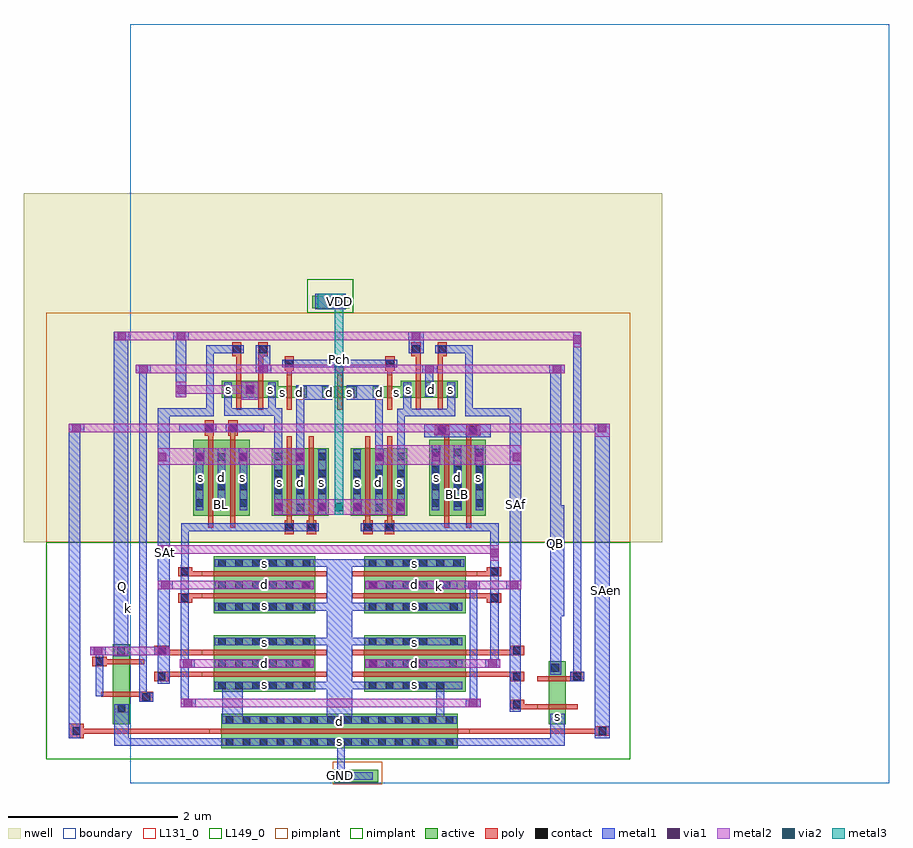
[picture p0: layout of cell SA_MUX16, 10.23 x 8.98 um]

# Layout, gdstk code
from math import pi, radians
import gdstk
lib = gdstk.Library(unit=1e-6, precision=1e-09)
def R(c, l, rs):  # rectangles x0, y0, x1, y1
    for r in rs: c.add(gdstk.rectangle(r[:2], r[2:], *l))
def A(c, l, x, y, w, h, nx, ny, dx, dy):  # array of equal rectangles
    R(c, l, [(x+i*dx, y+j*dy, x+i*dx+w, y+j*dy+h) for i in range(nx) for j in range(ny)])
nwell = (3, 0)
active = (6, 0)
poly = (17, 0)
pimplant = (25, 0)
nimplant = (26, 0)
contact = (30, 0)
metal1 = (31, 0)
metal2 = (32, 0)
metal3 = (33, 0)
via1 = (51, 0)
via2 = (52, 0)
boundary = (108, 0)
L131_0 = (131, 0)
L149_0 = (149, 0)

pc_ct = lib.new_cell('pc_ct')
R(pc_ct, contact, [(0,0,0.09,0.09)])

m3x_m2x_cdns_77575081430 = lib.new_cell('M3X_M2X_CDNS_775750814300')
R(m3x_m2x_cdns_77575081430, metal2, [(-0.05,-0.09,0.05,0.09)])
R(m3x_m2x_cdns_77575081430, metal3, [(-0.05,-0.09,0.05,0.09)])
R(m3x_m2x_cdns_77575081430, via2, [(-0.05,-0.05,0.05,0.05)])

m1__po_cdns_775750814301 = lib.new_cell('M1__PO_CDNS_775750814301')
R(m1__po_cdns_775750814301, poly, [(-0.055,-0.085,0.055,0.085)])
R(m1__po_cdns_775750814301, contact, [(-0.045,-0.045,0.045,0.045)])
R(m1__po_cdns_775750814301, metal1, [(-0.085,-0.045,0.085,0.045)])

m2x_m1_cdns_775750814302 = lib.new_cell('M2X_M1_CDNS_775750814302')
R(m2x_m1_cdns_775750814302, metal1, [(-0.05,-0.09,0.05,0.09)])
R(m2x_m1_cdns_775750814302, metal2, [(-0.05,-0.09,0.05,0.09)])
R(m2x_m1_cdns_775750814302, via1, [(-0.05,-0.05,0.05,0.05)])

sa_mux16 = lib.new_cell('SA_MUX16')
R(sa_mux16, nwell, [(-1.26,2.85,6.29,6.975)])
R(sa_mux16, active, [(2.415,0.01,2.93,0.16), (1.075,0.41,3.875,0.585), (1.075,0.41,3.875,0.82), (1.075,0.645,3.875,0.82), (-0.205,0.695,-0.005,1.645), (4.95,0.695,5.15,1.44), (0.985,1.08,2.185,1.255), (0.985,1.08,2.185,1.75), (2.765,1.08,3.965,1.255), (2.765,1.08,3.965,1.75), (0.985,1.315,2.185,1.515), (2.765,1.315,3.965,1.515), (0.985,1.575,2.185,1.75), (2.765,1.575,3.965,1.75), (0.985,2.01,2.185,2.185), (0.985,2.01,2.185,2.68), (2.765,2.01,3.965,2.185), (2.765,2.01,3.965,2.68), (0.985,2.245,2.185,2.445), (2.765,2.245,3.965,2.445), (0.985,2.505,2.185,2.68), (2.765,2.505,3.965,2.68), (0.745,3.16,0.92,4.06), (0.745,3.16,1.415,4.06), (0.98,3.16,1.18,4.06), (1.24,3.16,1.415,4.06), (1.675,3.16,1.85,3.96), (1.675,3.16,2.345,3.96), (1.91,3.16,2.11,3.96), (2.17,3.16,2.345,3.96), (2.605,3.16,2.78,3.96), (2.605,3.16,3.275,3.96), (2.84,3.16,3.04,3.96), (3.1,3.16,3.275,3.96), (3.535,3.16,3.71,4.06), (3.535,3.16,4.205,4.06), (3.77,3.16,3.97,4.06), (4.03,3.16,4.205,4.06), (1.08,4.555,1.255,4.755), (1.08,4.555,1.46,4.755), (1.315,4.555,1.46,4.755), (1.46,4.555,1.515,4.755), (1.46,4.555,1.75,4.755), (1.575,4.555,1.75,4.755), (1.75,4.555,1.85,4.69), (1.75,4.555,2.085,4.69), (1.91,4.555,2.085,4.69), (2.27,4.555,2.445,4.69), (2.27,4.555,2.68,4.69), (2.505,4.555,2.68,4.69), (2.865,4.555,3.04,4.69), (2.865,4.555,3.375,4.69), (3.1,4.555,3.2,4.69), (3.2,4.555,3.375,4.755), (3.2,4.555,3.49,4.755), (3.435,4.555,3.49,4.755), (3.49,4.555,3.635,4.755), (3.49,4.555,3.87,4.755), (3.695,4.555,3.87,4.755), (2.15,5.615,2.59,5.765)])
A(sa_mux16, poly, 1.85, 4.415, 0.06, 0.415, 3, 1, 0.595, 0)
R(sa_mux16, poly, [(-0.725,0.53,-0.55,0.7), (5.49,0.56,5.67,0.67), (-0.68,0.585,5.67,0.645), (4.49,0.875,4.66,0.985), (4.49,0.875,4.66,0.985), (4.515,0.875,5.29,0.935), (4.81,0.875,5.29,0.935), (0.105,0.96,0.275,1.07), (-0.345,1.02,0.275,1.08), (0.285,1.205,0.455,1.315), (0.285,1.205,0.455,1.315), (4.49,1.205,4.66,1.315), (4.49,1.205,4.66,1.315), (4.81,1.205,5.335,1.265), (5.2,1.205,5.37,1.315), (5.2,1.205,5.37,1.315), (0.285,1.255,2.32,1.315), (0.845,1.255,2.325,1.315), (2.625,1.255,4.105,1.315), (2.625,1.255,4.66,1.315), (-0.45,1.385,-0.28,1.495), (-0.345,1.405,0.135,1.465), (-0.305,1.405,0.165,1.465), (0.285,1.515,0.455,1.625), (0.285,1.515,0.455,1.625), (0.285,1.515,2.32,1.575), (0.845,1.515,2.325,1.575), (2.625,1.515,4.105,1.575), (2.625,1.515,4.66,1.575), (4.49,1.515,4.66,1.625), (4.49,1.515,4.66,1.625), (0.565,2.135,0.735,2.245), (4.215,2.135,4.385,2.245), (0.565,2.185,2.325,2.245), (2.625,2.185,4.345,2.245), (0.565,2.445,0.735,2.555), (0.595,2.445,2.325,2.505), (2.625,2.445,4.355,2.505), (4.215,2.445,4.385,2.555), (1.825,2.94,1.935,3.11), (3.01,2.94,3.12,3.11), (0.92,3.02,0.98,4.235), (1.18,3.02,1.24,4.2), (1.85,3.02,1.91,4.1), (2.11,3.02,2.17,4.1), (2.78,3.02,2.84,4.1), (3.04,3.02,3.1,4.1), (3.71,3.02,3.77,4.225), (3.97,3.02,4.03,4.22), (0.88,4.11,0.99,4.29), (1.16,4.11,1.27,4.29), (3.97,4.11,4.14,4.23), (3.6,4.115,3.77,4.23), (1.255,4.415,1.315,4.895), (1.255,4.415,1.315,5.215), (1.515,4.415,1.575,4.895), (1.515,4.415,1.575,5.215), (1.85,4.415,1.91,5.005), (3.04,4.415,3.1,5.005), (3.375,4.415,3.435,4.895), (3.375,4.415,3.435,5.215), (3.635,4.415,3.695,4.895), (3.635,4.415,3.695,5.215), (2.445,4.42,2.505,5.01), (1.825,4.875,1.935,5.045), (2.42,4.875,2.53,5.045), (2.42,4.875,2.53,5.045), (3.015,4.875,3.125,5.045), (1.205,5.045,1.315,5.215), (1.515,5.045,1.625,5.215), (3.325,5.045,3.435,5.215), (3.635,5.045,3.745,5.215)])
R(sa_mux16, pimplant, [(2.395,-0.01,2.98,0.255), (-0.995,2.85,5.91,5.56), (3.07,4.265,3.62,5.045)])
R(sa_mux16, nimplant, [(-0.995,0.28,5.91,2.85), (2.095,5.56,2.635,5.96)])
A(sa_mux16, contact, 1.835, 4.915, 0.09, 0.09, 3, 1, 0.595, 0)
R(sa_mux16, contact, [(2.445,0.04,2.535,0.13), (-0.68,0.57,-0.59,0.66), (5.54,0.57,5.63,0.66), (4.53,0.885,4.62,0.975), (4.53,0.885,4.62,0.975), (0.145,0.97,0.235,1.06), (0.325,1.215,0.415,1.305), (0.325,1.215,0.415,1.305), (4.53,1.215,4.62,1.305), (4.53,1.215,4.62,1.305), (5.24,1.215,5.33,1.305), (5.24,1.215,5.33,1.305), (-0.41,1.395,-0.32,1.485), (0.325,1.525,0.415,1.615), (0.325,1.525,0.415,1.615), (4.53,1.525,4.62,1.615), (4.53,1.525,4.62,1.615), (0.605,2.145,0.695,2.235), (4.255,2.145,4.345,2.235), (0.605,2.455,0.695,2.545), (4.255,2.455,4.345,2.545), (1.835,2.98,1.925,3.07), (3.02,2.98,3.11,3.07), (3.64,4.13,3.73,4.22), (4.01,4.13,4.1,4.22), (0.89,4.16,0.98,4.25), (1.17,4.16,1.26,4.25), (1.215,5.085,1.305,5.175), (1.525,5.085,1.615,5.175), (3.335,5.085,3.425,5.175), (3.645,5.085,3.735,5.175), (2.425,5.645,2.515,5.735)])
A(sa_mux16, metal1, 1, 1.11, 1.17, 0.09, 1, 3, 0, 0.26)
A(sa_mux16, metal1, 2.78, 1.11, 1.145, 0.09, 1, 3, 0, 0.26)
A(sa_mux16, metal1, 1, 2.04, 1.17, 0.09, 1, 3, 0, 0.26)
A(sa_mux16, metal1, 1.705, 3.175, 0.09, 0.77, 3, 1, 0.26, 0)
A(sa_mux16, metal1, 2.635, 3.175, 0.09, 0.77, 3, 1, 0.26, 0)
A(sa_mux16, metal1, 0.775, 3.225, 0.09, 0.735, 3, 1, 0.26, 0)
A(sa_mux16, metal1, 3.565, 3.225, 0.09, 0.77, 3, 1, 0.26, 0)
A(sa_mux16, metal1, 1.11, 4.57, 0.09, 0.17, 3, 1, 0.26, 0)
A(sa_mux16, metal1, 3.23, 4.57, 0.09, 0.17, 3, 1, 0.26, 0)
A(sa_mux16, metal1, 1.795, 4.915, 0.17, 0.09, 3, 1, 0.595, 0)
R(sa_mux16, metal1, [(2.405,0.04,2.865,0.13), (2.445,0.04,2.535,0.53), (2.445,0.04,2.535,0.13), (-0.19,0.44,-0.015,0.93), (-0.19,0.44,5.135,0.53), (1.09,0.44,3.86,0.53), (4.965,0.44,5.135,0.82), (-0.725,0.53,-0.59,4.25), (-0.68,0.53,-0.59,0.7), (5.49,0.53,5.67,4.25), (5.54,0.53,5.63,0.7), (1.09,0.7,3.86,0.79), (1.09,0.7,1.33,1.2), (2.325,0.7,2.625,2.65), (3.62,0.7,3.71,1.2), (-0.19,0.84,-0.015,0.93), (4.485,0.845,4.62,2.395), (4.53,0.845,4.62,1.005), (4.53,0.845,4.62,1.005), (0.595,0.9,0.775,1), (0.595,0.9,0.695,2.585), (3.965,0.9,4.145,1), (4.015,0.9,4.105,2.395), (0.105,0.96,0.275,1.07), (0.105,0.96,0.195,4.925), (-0.41,1.025,-0.32,1.195), (-0.41,1.025,-0.32,1.615), (1,1.11,3.925,1.2), (0.325,1.175,0.415,1.345), (0.325,1.175,0.465,1.345), (4.53,1.175,4.62,1.345), (4.53,1.175,4.62,1.345), (0.325,1.205,0.465,4.435), (5.2,1.205,5.335,1.315), (5.235,1.205,5.37,1.32), (5.235,1.265,5.335,5.335), (4.965,1.28,5.095,1.43), (4.965,1.28,5.095,4.945), (0.585,1.365,0.765,1.465), (1.5,1.365,1.68,1.465), (1.99,1.365,2.17,1.465), (2.78,1.365,2.96,1.465), (3.27,1.365,3.45,1.465), (4.195,1.365,4.375,1.465), (4.255,1.365,4.355,3.07), (0.325,1.485,0.415,1.655), (0.325,1.485,0.415,1.655), (4.53,1.485,4.62,1.655), (4.53,1.485,4.62,1.655), (-0.195,1.5,-0.025,5.335), (-0.47,1.515,-0.29,1.615), (0.285,1.515,0.465,1.615), (2.04,1.63,2.325,1.72), (2.625,1.63,2.91,1.72), (4.965,1.975,5.13,3.285), (2.04,2.04,2.325,2.13), (2.625,2.04,2.91,2.13), (2.78,2.04,3.925,2.13), (-0.19,2.06,-0.025,3.435), (0.605,2.105,0.695,2.275), (4.255,2.105,4.345,2.275), (5.49,2.225,5.67,2.48), (0.325,2.295,0.505,2.395), (1.5,2.295,1.68,2.395), (1.99,2.295,2.17,2.395), (2.78,2.295,2.96,2.395), (3.27,2.295,3.45,2.395), (3.955,2.295,4.135,2.395), (4.445,2.295,4.625,2.395), (2.78,2.3,3.865,2.39), (4.485,2.355,4.625,4.435), (0.605,2.415,0.695,2.585), (4.255,2.415,4.345,2.585), (0.605,2.455,0.695,3.07), (1,2.56,3.95,2.65), (2.78,2.56,3.95,2.65), (0.325,2.575,0.465,3.505), (0.325,2.71,0.505,2.81), (4.49,2.93,4.625,3.675), (0.605,2.98,2.23,3.07), (1.795,2.98,1.965,3.07), (2.725,2.98,4.355,3.07), (2.98,2.98,3.15,3.07), (1.705,3.175,1.805,3.355), (2.215,3.175,2.315,3.355), (2.635,3.175,2.735,3.355), (3.145,3.175,3.245,3.355), (1.035,3.225,1.125,3.755), (3.825,3.225,3.92,3.755), (0.325,3.765,0.425,3.945), (0.775,3.765,0.875,3.96), (1.285,3.765,1.385,3.96), (1.955,3.765,2.055,3.945), (1.965,3.765,2.055,4.625), (2.895,3.765,2.995,3.945), (2.895,3.765,2.985,4.625), (3.565,3.765,3.665,3.995), (4.075,3.765,4.175,3.995), (4.525,3.765,4.625,3.945), (1.705,3.815,1.795,4.435), (3.155,3.815,3.245,4.425), (3.475,4.09,3.895,4.245), (3.845,4.09,4.265,4.245), (3.475,4.095,3.895,4.195), (3.845,4.095,4.265,4.195), (5.49,4.095,5.67,4.25), (-0.725,4.15,-0.545,4.25), (0.58,4.15,1.02,4.25), (1.13,4.16,1.585,4.25), (3.155,4.335,3.84,4.425), (3.75,4.335,3.84,4.74), (0.325,4.34,0.99,4.435), (0.9,4.34,0.99,5.175), (3.23,4.34,3.32,4.74), (3.96,4.34,4.625,4.435), (3.96,4.34,4.05,5.175), (1.11,4.345,1.2,4.74), (1.11,4.345,1.795,4.435), (1.63,4.345,1.72,4.74), (1.315,4.53,1.515,4.745), (1.965,4.535,2.055,4.705), (1.965,4.535,2.39,4.705), (2.3,4.535,2.39,4.705), (2.56,4.535,2.65,4.705), (2.56,4.535,2.985,4.705), (2.895,4.535,2.985,4.705), (0.54,4.565,0.665,4.745), (0.54,4.565,0.665,5.335), (3.49,4.57,3.58,4.945), (0.065,4.845,0.245,4.945), (1.485,4.845,1.665,4.945), (1.485,4.845,1.655,5.175), (3.45,4.845,3.63,4.945), (4.955,4.845,5.135,4.945), (1.795,4.915,3.155,5.005), (0.9,5.085,1.345,5.175), (1.175,5.085,1.345,5.175), (1.485,5.085,1.655,5.175), (3.295,5.085,3.465,5.175), (3.295,5.085,3.47,5.335), (3.605,5.085,3.775,5.175), (3.605,5.085,4.05,5.175), (5.235,5.155,5.335,5.335), (-0.19,5.235,-0.01,5.335), (0.51,5.235,0.69,5.335), (3.29,5.235,3.47,5.335), (2.19,5.605,2.55,5.785), (2.22,5.605,2.55,5.785)])
R(sa_mux16, metal2, [(0.595,0.9,0.775,1), (0.595,0.9,4.095,1), (3.965,0.9,4.145,1), (0.585,1.365,0.765,1.465), (0.585,1.365,2.17,1.465), (1.5,1.365,1.68,1.465), (1.99,1.365,2.17,1.465), (2.78,1.365,2.96,1.465), (2.78,1.365,4.375,1.465), (3.27,1.365,3.45,1.465), (4.195,1.365,4.375,1.465), (-0.47,1.515,-0.29,1.615), (-0.47,1.515,0.465,1.615), (0.285,1.515,0.465,1.615), (0.325,2.295,0.505,2.395), (0.405,2.295,2.17,2.395), (1.5,2.295,1.68,2.395), (1.99,2.295,2.17,2.395), (2.78,2.295,2.96,2.395), (2.78,2.295,4.545,2.395), (3.27,2.295,3.45,2.395), (3.955,2.295,4.135,2.395), (4.445,2.295,4.625,2.395), (0.325,2.71,0.505,2.81), (0.325,2.71,4.355,2.81), (1.705,3.175,1.805,3.355), (1.705,3.175,3.245,3.355), (2.215,3.175,2.315,3.355), (2.635,3.175,2.735,3.355), (3.145,3.175,3.245,3.355), (0.325,3.765,0.425,3.945), (0.325,3.765,2.055,3.96), (0.775,3.765,0.875,3.96), (1.285,3.765,1.385,3.96), (1.955,3.765,2.055,3.945), (2.895,3.765,2.995,3.945), (2.895,3.765,4.625,3.995), (3.565,3.765,3.665,3.995), (4.075,3.765,4.175,3.995), (4.525,3.765,4.625,3.945), (5.49,4.095,5.67,4.25), (3.965,4.115,4.145,4.215), (3.595,4.12,3.775,4.22), (-0.725,4.15,-0.545,4.25), (-0.695,4.15,5.67,4.25), (1.315,4.53,1.515,4.745), (0.54,4.565,0.665,4.745), (0.54,4.605,1.515,4.705), (0.065,4.845,0.245,4.945), (0.065,4.845,5.135,4.945), (1.485,4.845,1.665,4.945), (3.45,4.845,3.63,4.945), (4.955,4.845,5.135,4.945), (5.235,5.155,5.335,5.335), (-0.19,5.235,-0.01,5.335), (-0.19,5.235,5.335,5.335), (0.51,5.235,0.69,5.335), (3.29,5.235,3.47,5.335), (2.22,5.605,2.55,5.785), (2.37,5.605,2.55,5.785)])
R(sa_mux16, metal3, [(2.42,3.175,2.52,5.785), (2.22,5.605,2.55,5.785), (2.42,5.605,2.52,5.785)])
R(sa_mux16, via1, [(0.635,0.9,0.735,1), (4.005,0.9,4.105,1), (0.625,1.365,0.725,1.465), (1.54,1.365,1.64,1.465), (2.03,1.365,2.13,1.465), (2.82,1.365,2.92,1.465), (3.31,1.365,3.41,1.465), (4.235,1.365,4.335,1.465), (-0.43,1.515,-0.33,1.615), (0.325,1.515,0.425,1.615), (0.365,2.295,0.465,2.395), (1.54,2.295,1.64,2.395), (2.03,2.295,2.13,2.395), (2.82,2.295,2.92,2.395), (3.31,2.295,3.41,2.395), (3.995,2.295,4.095,2.395), (4.485,2.295,4.585,2.395), (0.365,2.71,0.465,2.81), (1.705,3.215,1.805,3.315), (2.215,3.215,2.315,3.315), (2.635,3.215,2.735,3.315), (3.145,3.215,3.245,3.315), (0.325,3.805,0.425,3.905), (0.775,3.805,0.875,3.905), (1.285,3.805,1.385,3.905), (1.955,3.805,2.055,3.905), (2.895,3.805,2.995,3.905), (3.565,3.805,3.665,3.905), (4.075,3.805,4.175,3.905), (4.525,3.805,4.625,3.905), (4.005,4.115,4.105,4.215), (3.635,4.12,3.735,4.22), (-0.685,4.15,-0.585,4.25), (5.53,4.15,5.63,4.25), (0.555,4.605,0.655,4.705), (1.365,4.605,1.465,4.705), (0.105,4.845,0.205,4.945), (1.525,4.845,1.625,4.945), (3.49,4.845,3.59,4.945), (4.995,4.845,5.095,4.945), (5.235,5.195,5.335,5.295), (-0.15,5.235,-0.05,5.335), (0.55,5.235,0.65,5.335), (3.33,5.235,3.43,5.335), (2.42,5.645,2.52,5.745)])
R(sa_mux16, via2, [(2.42,5.645,2.52,5.745)])
R(sa_mux16, boundary, [(0,0,8.975,8.975)])
A(sa_mux16, L131_0, 1, 1.11, 1.17, 0.09, 1, 3, 0, 0.26)
A(sa_mux16, L131_0, 2.78, 1.11, 1.145, 0.09, 1, 3, 0, 0.26)
A(sa_mux16, L131_0, 1, 2.04, 1.17, 0.09, 1, 3, 0, 0.26)
A(sa_mux16, L131_0, 1.705, 3.175, 0.09, 0.77, 3, 1, 0.26, 0)
A(sa_mux16, L131_0, 2.635, 3.175, 0.09, 0.77, 3, 1, 0.26, 0)
A(sa_mux16, L131_0, 3.565, 3.225, 0.09, 0.77, 3, 1, 0.26, 0)
A(sa_mux16, L131_0, 1.11, 4.57, 0.09, 0.17, 3, 1, 0.26, 0)
A(sa_mux16, L131_0, 3.23, 4.57, 0.09, 0.17, 3, 1, 0.26, 0)
R(sa_mux16, L131_0, [(1.09,0.44,3.86,0.53), (1.09,0.7,3.86,0.79), (-0.19,0.84,-0.015,0.93), (2.78,2.04,3.925,2.13), (2.78,2.3,3.865,2.39), (2.78,2.56,3.95,2.65), (1.965,4.535,2.055,4.705), (2.3,4.535,2.39,4.705), (2.56,4.535,2.65,4.705), (2.895,4.535,2.985,4.705)])
A(sa_mux16, L149_0, 1.85, 4.415, 0.06, 0.14, 3, 2, 0.595, 0.275)
R(sa_mux16, L149_0, [(0.935,0.585,1.075,0.645), (3.875,0.585,4.015,0.645), (4.81,0.875,4.95,0.935), (5.15,0.875,5.29,0.935), (4.81,1.205,4.95,1.265), (5.15,1.205,5.33,1.265), (0.845,1.255,0.985,1.315), (2.185,1.255,2.325,1.315), (2.625,1.255,2.765,1.315), (3.965,1.255,4.105,1.315), (0.845,1.515,0.985,1.575), (2.185,1.515,2.325,1.575), (2.625,1.515,2.765,1.575), (3.965,1.515,4.105,1.575), (0.845,2.185,0.985,2.245), (2.185,2.185,2.325,2.245), (2.625,2.185,2.765,2.245), (3.965,2.185,4.105,2.245), (0.845,2.445,0.985,2.505), (2.185,2.445,2.325,2.505), (2.625,2.445,2.765,2.505), (3.965,2.445,4.105,2.505), (0.92,3.02,0.98,3.16), (1.18,3.02,1.24,3.16), (1.85,3.02,1.91,3.16), (2.11,3.02,2.17,3.16), (2.78,3.02,2.84,3.16), (3.04,3.02,3.1,3.16), (3.71,3.02,3.77,3.16), (3.97,3.02,4.03,3.16), (1.85,3.96,1.91,4.1), (2.11,3.96,2.17,4.1), (2.78,3.96,2.84,4.1), (3.04,3.96,3.1,4.1), (1.18,4.06,1.24,4.2), (3.71,4.06,3.77,4.225), (3.97,4.06,4.03,4.22), (1.255,4.415,1.315,4.555), (1.515,4.415,1.575,4.555), (3.375,4.415,3.435,4.555), (3.635,4.415,3.695,4.555), (1.255,4.755,1.315,4.895), (1.515,4.755,1.575,4.895), (3.375,4.755,3.435,4.895), (3.635,4.755,3.695,4.895)])
sa_mux16.add(gdstk.Reference(pc_ct, (3.695,2.3), rotation=pi/2, x_reflection=True))
sa_mux16.add(gdstk.Reference(pc_ct, (3.42,2.3), rotation=pi/2, x_reflection=True))
sa_mux16.add(gdstk.Reference(pc_ct, (3.22,2.3), rotation=pi/2, x_reflection=True))
sa_mux16.add(gdstk.Reference(pc_ct, (3.02,2.3), rotation=pi/2, x_reflection=True))
sa_mux16.add(gdstk.Reference(pc_ct, (2.82,2.3), rotation=pi/2, x_reflection=True))
sa_mux16.add(gdstk.Reference(pc_ct, (3.78,2.04), rotation=pi/2, x_reflection=True))
sa_mux16.add(gdstk.Reference(pc_ct, (3.42,2.04), rotation=pi/2, x_reflection=True))
sa_mux16.add(gdstk.Reference(pc_ct, (3.22,2.04), rotation=pi/2, x_reflection=True))
sa_mux16.add(gdstk.Reference(pc_ct, (3.02,2.04), rotation=pi/2, x_reflection=True))
sa_mux16.add(gdstk.Reference(pc_ct, (2.82,2.04), rotation=pi/2, x_reflection=True))
sa_mux16.add(gdstk.Reference(pc_ct, (2.91,1.72), rotation=3*pi/2, x_reflection=True))
sa_mux16.add(gdstk.Reference(pc_ct, (3.11,1.72), rotation=3*pi/2, x_reflection=True))
sa_mux16.add(gdstk.Reference(pc_ct, (3.31,1.72), rotation=3*pi/2, x_reflection=True))
sa_mux16.add(gdstk.Reference(pc_ct, (3.51,1.72), rotation=3*pi/2, x_reflection=True))
sa_mux16.add(gdstk.Reference(pc_ct, (3.875,1.72), rotation=3*pi/2, x_reflection=True))
sa_mux16.add(gdstk.Reference(pc_ct, (1.295,3.81)))
sa_mux16.add(gdstk.Reference(pc_ct, (1.295,3.465)))
sa_mux16.add(gdstk.Reference(pc_ct, (1.295,3.265)))
sa_mux16.add(gdstk.Reference(pc_ct, (1.035,3.81)))
sa_mux16.add(gdstk.Reference(pc_ct, (1.035,3.465)))
sa_mux16.add(gdstk.Reference(pc_ct, (1.035,3.265)))
sa_mux16.add(gdstk.Reference(pc_ct, (0.775,3.815)))
sa_mux16.add(gdstk.Reference(pc_ct, (0.775,3.465)))
sa_mux16.add(gdstk.Reference(pc_ct, (0.775,3.265)))
sa_mux16.add(gdstk.Reference(pc_ct, (2.91,1.46), rotation=3*pi/2, x_reflection=True))
sa_mux16.add(gdstk.Reference(pc_ct, (3.11,1.46), rotation=3*pi/2, x_reflection=True))
sa_mux16.add(gdstk.Reference(pc_ct, (3.31,1.46), rotation=3*pi/2, x_reflection=True))
sa_mux16.add(gdstk.Reference(pc_ct, (3.51,1.46), rotation=3*pi/2, x_reflection=True))
sa_mux16.add(gdstk.Reference(pc_ct, (3.86,1.46), rotation=3*pi/2, x_reflection=True))
sa_mux16.add(gdstk.Reference(pc_ct, (2.91,1.2), rotation=3*pi/2, x_reflection=True))
sa_mux16.add(gdstk.Reference(pc_ct, (3.11,1.2), rotation=3*pi/2, x_reflection=True))
sa_mux16.add(gdstk.Reference(pc_ct, (3.31,1.2), rotation=3*pi/2, x_reflection=True))
sa_mux16.add(gdstk.Reference(pc_ct, (3.51,1.2), rotation=3*pi/2, x_reflection=True))
sa_mux16.add(gdstk.Reference(pc_ct, (3.71,1.2), rotation=3*pi/2, x_reflection=True))
r = gdstk.Reference(pc_ct, (3.825,3.265)); r.repetition = gdstk.Repetition(1, 4, v1=(0.2,0), v2=(0,0.2)); sa_mux16.add(r)
r = gdstk.Reference(pc_ct, (4.085,3.265)); r.repetition = gdstk.Repetition(1, 4, v1=(0.2,0), v2=(0,0.2)); sa_mux16.add(r)
r = gdstk.Reference(pc_ct, (3.565,3.265)); r.repetition = gdstk.Repetition(1, 4, v1=(0.2,0), v2=(0,0.2)); sa_mux16.add(r)
r = gdstk.Reference(pc_ct, (2.82,2.56), rotation=pi/2, x_reflection=True); r.repetition = gdstk.Repetition(1, 6, v1=(0,0.2), v2=(0.2,0)); sa_mux16.add(r)
r = gdstk.Reference(pc_ct, (1.13,0.7), rotation=pi/2, x_reflection=True); r.repetition = gdstk.Repetition(1, 14, v1=(0,0.2), v2=(0.2,0)); sa_mux16.add(r)
r = gdstk.Reference(pc_ct, (1.13,0.44), rotation=pi/2, x_reflection=True); r.repetition = gdstk.Repetition(1, 14, v1=(0,0.2), v2=(0.2,0)); sa_mux16.add(r)
r = gdstk.Reference(pc_ct, (3.58,4.61), rotation=pi, x_reflection=True); r.repetition = gdstk.Repetition(1, 1, v1=(-0.2,0), v2=(0,0.2)); sa_mux16.add(r)
r = gdstk.Reference(pc_ct, (3.84,4.61), rotation=pi, x_reflection=True); r.repetition = gdstk.Repetition(1, 1, v1=(-0.2,0), v2=(0,0.2)); sa_mux16.add(r)
r = gdstk.Reference(pc_ct, (3.23,4.61)); r.repetition = gdstk.Repetition(1, 1, v1=(0.2,0), v2=(0,0.2)); sa_mux16.add(r)
r = gdstk.Reference(pc_ct, (2.895,3.215)); r.repetition = gdstk.Repetition(1, 4, v1=(0.2,0), v2=(0,0.2)); sa_mux16.add(r)
r = gdstk.Reference(pc_ct, (3.155,3.215)); r.repetition = gdstk.Repetition(1, 4, v1=(0.2,0), v2=(0,0.2)); sa_mux16.add(r)
r = gdstk.Reference(pc_ct, (2.635,3.215)); r.repetition = gdstk.Repetition(1, 4, v1=(0.2,0), v2=(0,0.2)); sa_mux16.add(r)
r = gdstk.Reference(pc_ct, (2.985,4.575), rotation=pi, x_reflection=True); r.repetition = gdstk.Repetition(1, 1, v1=(-0.2,0), v2=(0,0.2)); sa_mux16.add(r)
r = gdstk.Reference(pc_ct, (2.39,4.575), rotation=pi, x_reflection=True); r.repetition = gdstk.Repetition(1, 1, v1=(-0.2,0), v2=(0,0.2)); sa_mux16.add(r)
r = gdstk.Reference(pc_ct, (2.65,4.575), rotation=pi, x_reflection=True); r.repetition = gdstk.Repetition(1, 1, v1=(-0.2,0), v2=(0,0.2)); sa_mux16.add(r)
r = gdstk.Reference(pc_ct, (1.965,3.215)); r.repetition = gdstk.Repetition(1, 4, v1=(0.2,0), v2=(0,0.2)); sa_mux16.add(r)
r = gdstk.Reference(pc_ct, (2.225,3.215)); r.repetition = gdstk.Repetition(1, 4, v1=(0.2,0), v2=(0,0.2)); sa_mux16.add(r)
r = gdstk.Reference(pc_ct, (1.705,3.215)); r.repetition = gdstk.Repetition(1, 4, v1=(0.2,0), v2=(0,0.2)); sa_mux16.add(r)
r = gdstk.Reference(pc_ct, (2.13,2.39), rotation=3*pi/2, x_reflection=True); r.repetition = gdstk.Repetition(1, 6, v1=(0,-0.2), v2=(-0.2,0)); sa_mux16.add(r)
r = gdstk.Reference(pc_ct, (2.13,2.13), rotation=3*pi/2, x_reflection=True); r.repetition = gdstk.Repetition(1, 6, v1=(0,-0.2), v2=(-0.2,0)); sa_mux16.add(r)
r = gdstk.Reference(pc_ct, (2.13,2.65), rotation=3*pi/2, x_reflection=True); r.repetition = gdstk.Repetition(1, 6, v1=(0,-0.2), v2=(-0.2,0)); sa_mux16.add(r)
r = gdstk.Reference(pc_ct, (2.13,1.46), rotation=3*pi/2, x_reflection=True); r.repetition = gdstk.Repetition(1, 6, v1=(0,-0.2), v2=(-0.2,0)); sa_mux16.add(r)
r = gdstk.Reference(pc_ct, (2.13,1.2), rotation=3*pi/2, x_reflection=True); r.repetition = gdstk.Repetition(1, 6, v1=(0,-0.2), v2=(-0.2,0)); sa_mux16.add(r)
r = gdstk.Reference(pc_ct, (2.13,1.72), rotation=3*pi/2, x_reflection=True); r.repetition = gdstk.Repetition(1, 6, v1=(0,-0.2), v2=(-0.2,0)); sa_mux16.add(r)
r = gdstk.Reference(pc_ct, (1.72,4.61), rotation=pi, x_reflection=True); r.repetition = gdstk.Repetition(1, 1, v1=(-0.2,0), v2=(0,0.2)); sa_mux16.add(r)
r = gdstk.Reference(pc_ct, (1.37,4.61)); r.repetition = gdstk.Repetition(1, 1, v1=(0.2,0), v2=(0,0.2)); sa_mux16.add(r)
r = gdstk.Reference(pc_ct, (1.11,4.61)); r.repetition = gdstk.Repetition(1, 1, v1=(0.2,0), v2=(0,0.2)); sa_mux16.add(r)
r = gdstk.Reference(pc_ct, (1.965,4.575)); r.repetition = gdstk.Repetition(1, 1, v1=(0.2,0), v2=(0,0.2)); sa_mux16.add(r)
r = gdstk.Reference(pc_ct, (5.005,0.73), rotation=pi/2, x_reflection=True); r.repetition = gdstk.Repetition(1, 1, v1=(0,0.2), v2=(0.2,0)); sa_mux16.add(r)
r = gdstk.Reference(pc_ct, (5.07,1.32), rotation=pi/2); r.repetition = gdstk.Repetition(1, 1, v1=(0,0.2), v2=(-0.2,0)); sa_mux16.add(r)
r = gdstk.Reference(pc_ct, (-0.06,0.84), rotation=pi/2); r.repetition = gdstk.Repetition(1, 1, v1=(0,0.2), v2=(-0.2,0)); sa_mux16.add(r)
r = gdstk.Reference(pc_ct, (-0.065,1.52), rotation=pi/2); r.repetition = gdstk.Repetition(1, 1, v1=(0,0.2), v2=(-0.2,0)); sa_mux16.add(r)
sa_mux16.add(gdstk.Reference(m3x_m2x_cdns_77575081430, (2.47,3.265)))
sa_mux16.add(gdstk.Reference(m1__po_cdns_775750814301, (2.81,3.025)))
sa_mux16.add(gdstk.Reference(m1__po_cdns_775750814301, (2.145,3.025)))
sa_mux16.add(gdstk.Reference(m2x_m1_cdns_775750814302, (1.22,4.2), rotation=pi/2))
sa_mux16.add(gdstk.Reference(m2x_m1_cdns_775750814302, (0.93,4.2), rotation=pi/2))
sa_mux16.add(gdstk.Reference(m2x_m1_cdns_775750814302, (4.305,2.72)))
sa_mux16.add(gdstk.Label('GND', (2.49,0.09), layer=131, texttype=0))
sa_mux16.add(gdstk.Label('QB', (5.025,2.83), layer=131, texttype=0))
sa_mux16.add(gdstk.Label('Q', (-0.09,2.32), layer=131, texttype=0))
sa_mux16.add(gdstk.Label('SAf', (4.55,3.29), layer=131, texttype=0))
sa_mux16.add(gdstk.Label('SAt', (0.415,2.725), layer=131, texttype=0))
sa_mux16.add(gdstk.Label('BLB', (3.875,3.415), layer=131, texttype=0))
sa_mux16.add(gdstk.Label('BL', (1.08,3.295), layer=131, texttype=0))
sa_mux16.add(gdstk.Label('SAen', (5.63,2.275), layer=131, texttype=0))
sa_mux16.add(gdstk.Label('d', (3.87,3.61), layer=127, texttype=0))
sa_mux16.add(gdstk.Label('s', (4.118,3.61), layer=127, texttype=0))
sa_mux16.add(gdstk.Label('s', (3.622,3.61), layer=127, texttype=0))
sa_mux16.add(gdstk.Label('d', (3.365,2.345), layer=127, texttype=0))
sa_mux16.add(gdstk.Label('s', (3.365,2.593), layer=127, texttype=0))
sa_mux16.add(gdstk.Label('s', (3.365,2.097), layer=127, texttype=0))
sa_mux16.add(gdstk.Label('d', (3.365,1.415), layer=127, texttype=0))
sa_mux16.add(gdstk.Label('s', (3.365,1.167), layer=127, texttype=0))
sa_mux16.add(gdstk.Label('s', (3.365,1.663), layer=127, texttype=0))
sa_mux16.add(gdstk.Label('d', (2.475,0.733), layer=127, texttype=0))
sa_mux16.add(gdstk.Label('s', (2.475,0.497), layer=127, texttype=0))
sa_mux16.add(gdstk.Label('d', (3.562,4.655), layer=127, texttype=0))
sa_mux16.add(gdstk.Label('s', (3.783,4.655), layer=127, texttype=0))
sa_mux16.add(gdstk.Label('d', (3.463,4.655), layer=127, texttype=0))
sa_mux16.add(gdstk.Label('s', (3.287,4.655), layer=127, texttype=0))
sa_mux16.add(gdstk.Label('d', (2.94,3.56), layer=127, texttype=0))
sa_mux16.add(gdstk.Label('s', (3.188,3.56), layer=127, texttype=0))
sa_mux16.add(gdstk.Label('s', (2.692,3.56), layer=127, texttype=0))
sa_mux16.add(gdstk.Label('d', (2.952,4.623), layer=127, texttype=0))
sa_mux16.add(gdstk.Label('s', (3.15,4.623), layer=127, texttype=0))
sa_mux16.add(gdstk.Label('d', (2.357,4.623), layer=127, texttype=0))
sa_mux16.add(gdstk.Label('s', (2.593,4.623), layer=127, texttype=0))
sa_mux16.add(gdstk.Label('d', (2.01,3.56), layer=127, texttype=0))
sa_mux16.add(gdstk.Label('s', (2.258,3.56), layer=127, texttype=0))
sa_mux16.add(gdstk.Label('s', (1.762,3.56), layer=127, texttype=0))
sa_mux16.add(gdstk.Label('d', (1.585,2.345), layer=127, texttype=0))
sa_mux16.add(gdstk.Label('s', (1.585,2.097), layer=127, texttype=0))
sa_mux16.add(gdstk.Label('s', (1.585,2.593), layer=127, texttype=0))
sa_mux16.add(gdstk.Label('d', (1.585,1.415), layer=127, texttype=0))
sa_mux16.add(gdstk.Label('s', (1.585,1.167), layer=127, texttype=0))
sa_mux16.add(gdstk.Label('s', (1.585,1.663), layer=127, texttype=0))
sa_mux16.add(gdstk.Label('d', (1.08,3.61), layer=127, texttype=0))
sa_mux16.add(gdstk.Label('s', (1.328,3.61), layer=127, texttype=0))
sa_mux16.add(gdstk.Label('s', (0.832,3.61), layer=127, texttype=0))
sa_mux16.add(gdstk.Label('s', (1.663,4.655), layer=127, texttype=0))
sa_mux16.add(gdstk.Label('s', (1.167,4.655), layer=127, texttype=0))
sa_mux16.add(gdstk.Label('d', (1.998,4.623), layer=127, texttype=0))
sa_mux16.add(gdstk.Label('s', (1.8,4.623), layer=127, texttype=0))
sa_mux16.add(gdstk.Label('s', (5.05,0.792), layer=127, texttype=0))
sa_mux16.add(gdstk.Label('k', (-0.025,2.06), layer=31, texttype=0))
sa_mux16.add(gdstk.Label('k', (3.662,2.32), layer=31, texttype=0))
sa_mux16.add(gdstk.Label('Pch', (2.475,5.01), layer=149, texttype=0))
sa_mux16.add(gdstk.Label('VDD', (2.475,5.695), layer=133, texttype=0))

lib.write_gds('SA_MUX16.gds')
